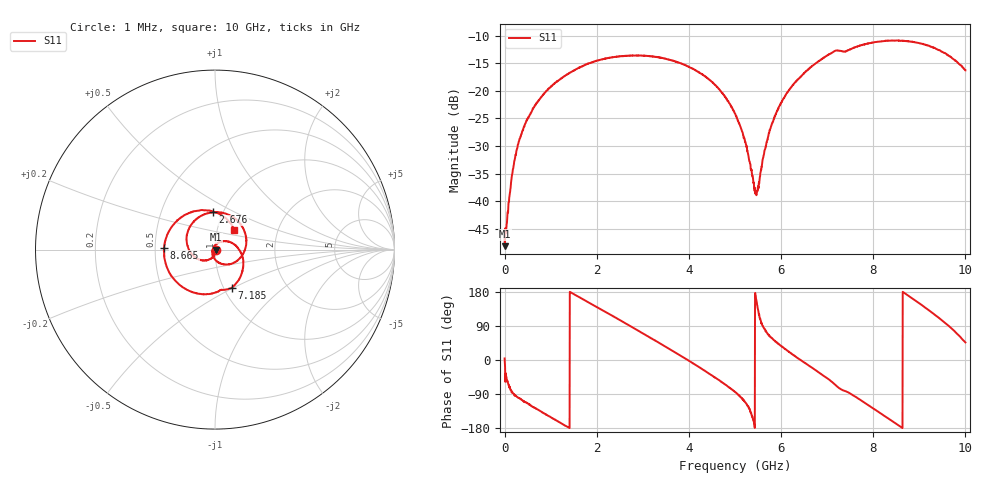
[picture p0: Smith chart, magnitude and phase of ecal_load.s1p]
!Keysight Technologies,M9375A,MY54321142,A.14.10.03
!Date: Thursday, September 11, 2025 11:54:26
!Correction: S11(C  2-Port  )
!S1P File: Measurement: :
# Hz S  dB  R 50
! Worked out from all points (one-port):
!   2001 points, 1 MHz to 10 GHz, reference 50 ohm
!   lowest |S11| = -48.2 dB at 6 MHz (marker M1), VSWR 1.01, Z = 50.4 - j0.0532 ohm
!   |S11| at or under -10 dB: start of sweep to end of sweep
!   S11 on the Smith chart (normalised r, x): 1 MHz: 1.01, +0.00; 2.676 GHz: 0.90, +0.39; 7.185 GHz: 1.09, -0.49; 8.665 GHz: 0.56, +0.01; 10 GHz: 1.20, +0.27
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1000000  -46.73 4.1
5999500  -48.18 -7.8
1.90981e8  -33.96 -88.9
2.80972e8  -30.22 -98.3
3.959605e8  -27.08 -106.8
7.30927e8  -21.88 -131.6
1.250875e9  -17.61 -168.6
1.840816e9  -14.98 150.4
2.50075e9  -13.74 105.5
2.675732e9  -13.65 93.2
3.150685e9  -13.70 59.4
3.750625e9  -14.78 16.5
4.49555e9  -18.35 -40.4
5.0005e9  -24.11 -84.4
5.210479e9  -28.74 -109.8
5.415458e9  -37.54 -169.0
5.465454e9  -38.93 156.8
5.79542e9  -26.17 58.5
6.0004e9  -22.18 37.0
6.250375e9  -18.97 14.7
6.770323e9  -14.90 -28.7
7.185282e9  -12.70 -66.4
7.50025e9  -12.45 -88.3
8.020198e9  -11.21 -129.4
8.665134e9  -10.93 177.7
8.750125e9  -10.98 170.7
9.40006e9  -12.55 113.5
1e10  -16.28 46.4
